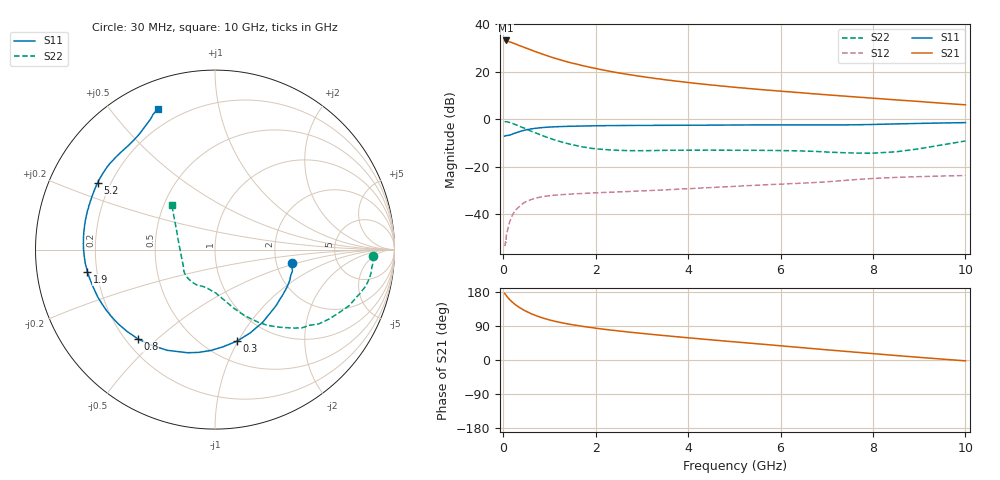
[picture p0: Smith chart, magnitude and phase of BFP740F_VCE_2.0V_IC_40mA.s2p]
! Infineon Technologies  Discrete & RF Semiconductors
! BFP740F
! VCE =  2.0 V,  IC =  40 mA
! Common Emitter S-Parameters:  Oct 2012
# GHz  S  MA  R  50
!  f  S11  S21  S12  S22
! GHz  MAG  ANG  MAG  ANG  MAG  ANG  MAG  ANG
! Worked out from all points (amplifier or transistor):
!   99 points, 30 MHz to 10 GHz, reference 50 ohm
!   highest |S21| = 33.2 dB at 50 MHz (marker M1)
!   |S21| within 3 dB of that: start of sweep to 463.2 MHz
!   unconditionally stable (mu >= 1): start of sweep to 42.18 MHz; 3.677 GHz to end of sweep
!   at 350 MHz: K = 0.31, MSG = 33.9 dB, |S12| = -36.8 dB
!   at 3.5 GHz: K = 0.98, MSG = 23.2 dB, |S12| = -29.8 dB
!   at 10 GHz: K = 1.25, MAG = 11.9 dB, |S12| = -23.8 dB
!   S11 on the Smith chart (normalised r, x): 30 MHz: 2.46, -0.44; 300 MHz: 0.70, -0.99; 800 MHz: 0.25, -0.43; 1.9 GHz: 0.16, -0.08; 5.2 GHz: 0.15, +0.26; 10 GHz: 0.12, +0.66
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0.03  0.4375 -9.6  44.37 175.8  0.0021 70.2  0.8789 -2.2
0.05  0.4477 -15.4  45.45 173.1  0.0026 79.8  0.8823 -5.2
0.09  0.4525 -27.9  44.62 166.2  0.0044 73.0  0.8756 -10.4
0.15  0.4636 -44.8  42.19 158.1  0.0072 70.4  0.8381 -17.6
0.2  0.4844 -56.7  40.46 152.2  0.0095 66.2  0.8099 -22.7
0.3  0.5245 -76.5  37.27 142.7  0.013 60.7  0.7435 -31.4
0.35  0.5433 -85.2  35.27 138.6  0.0144 57.5  0.7119 -35.5
0.4  0.5626 -92.4  34.15 134.9  0.0159 55.3  0.6738 -38.8
0.5  0.5946 -104.9  31.24 128.3  0.0184 49.7  0.6156 -45.3
0.6  0.6211 -115.4  28.73 122.4  0.0201 45.9  0.5591 -50.6
0.8  0.6571 -130.8  24.41 113.1  0.0227 39.8  0.469 -59.4
1  0.6796 -142.5  20.87 105.8  0.0243 35.5  0.3972 -66.4
1.2  0.6936 -151.0  18.17 100.0  0.0253 32.9  0.3435 -72.1
1.7  0.7147 -165.8  13.51 89.1  0.027 29.8  0.261 -83.8
1.9  0.7212 -170.1  12.22 85.7  0.0276 29.4  0.2429 -88.5
2.5  0.7325 180.0  9.399 76.6  0.0293 29.6  0.2196 -101.0
3.4  0.7389 168.6  6.981 65.4  0.032 31.4  0.219 -113.2
5.1  0.7523 151.1  4.588 46.9  0.0387 34.4  0.2204 -128.2
5.2  0.7523 150.3  4.523 45.9  0.0392 34.4  0.2203 -129.4
6.7  0.7548 135.8  3.422 30.1  0.0458 35.5  0.2093 -145.9
8.5  0.7921 119.1  2.54 11.8  0.0591 31.2  0.2046 170.3
10  0.8437 112.3  2.001 -2.2  0.0647 24.7  0.3459 134.1
